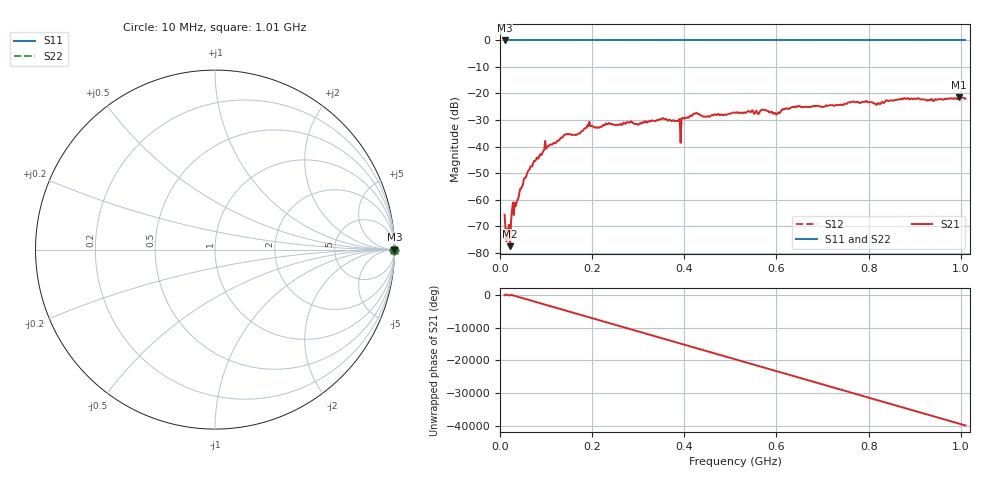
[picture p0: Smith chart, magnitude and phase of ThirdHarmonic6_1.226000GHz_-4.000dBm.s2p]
! 8/16/2025 12:53:59 PM
! C:\ANRITSUVNA\TEMP\TEMP.S2P
! CHANNEL.1
! TR.MEASUREMENT
! RAW.DATA
! RF.CORRECTION.OFF
! AVERAGING.OFF
! IF.BANDWIDTH: 5KHZ
! SWEEPTYPE:  FREQ.SWEEP(Linear)
! Reference Plane Port Info
! PORT:  PORT1  PORT2
! DISTANCE:  0  m  0  m
! TIME:  0  s  0  s
! PHASE.OFFSET:  0  deg.  0  deg.
! LOSS:  0  dB  0  dB
! REF.LOSS:  0  dB  0  dB
! REF.FREQ:  0  Hz  0  Hz
! Power Info
! POWER:  -20  dBm  -20  dBm
! EFF.POWER:  -20  dBm  -20  dBm
! SOURCE.ATTEN:  0  dB  0  dB
! TEST.ATTEN:  0  dB  0  dB
# GHZ S RI R 50.0
! FREQ.GHZ  S11RE  S11IM  S21RE  S21IM  S12RE  S12IM  S22RE  S22IM
!; PortSelection: Port_12
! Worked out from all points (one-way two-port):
!   501 points, 10 MHz to 1.01 GHz, reference 50 ohm
!   highest |S21| = -21.50 dB at 996 MHz (marker M1); lowest = -77.6 dB at 22 MHz (marker M2)
!   lowest |S11| = 0.0 dB at 10 MHz (marker M3)
!   |S11| at or under -10 dB: nowhere
!   |S22| runs from 0.0 to 0.0 dB; largest |S21 - S12| = 1.1
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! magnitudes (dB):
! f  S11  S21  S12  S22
! 10 MHz  0.0  -65.7  0.0  0.0
! 18 MHz  0.0  -71.0  0.0  0.0
! 22 MHz  0.0  -77.6  0.0  0.0
! 26 MHz  0.0  -64.1  0.0  0.0
! 28 MHz  0.0  -61.1  0.0  0.0
! 48 MHz  0.0  -55.1  0.0  0.0
! 76 MHz  0.0  -45.5  0.0  0.0
! 102 MHz  0.0  -40.2  0.0  0.0
! 142 MHz  0.0  -35.4  0.0  0.0
! 178 MHz  0.0  -34.2  0.0  0.0
! 194 MHz  0.0  -30.7  0.0  0.0
! 344 MHz  0.0  -30.0  0.0  0.0
! 386 MHz  0.0  -30.4  0.0  0.0
! 388 MHz  0.0  -30.0  0.0  0.0
! 424 MHz  0.0  -27.5  0.0  0.0
! 446 MHz  0.0  -28.7  0.0  0.0
! 510 MHz  0.0  -27.2  0.0  0.0
! 602 MHz  0.0  -27.5  0.0  0.0
! 678 MHz  0.0  -25.0  0.0  0.0
! 844 MHz  0.0  -22.8  0.0  0.0
! 996 MHz  0.0  -21.5  0.0  0.0
! 1.01 GHz  0.0  -22.0  0.0  0.0
